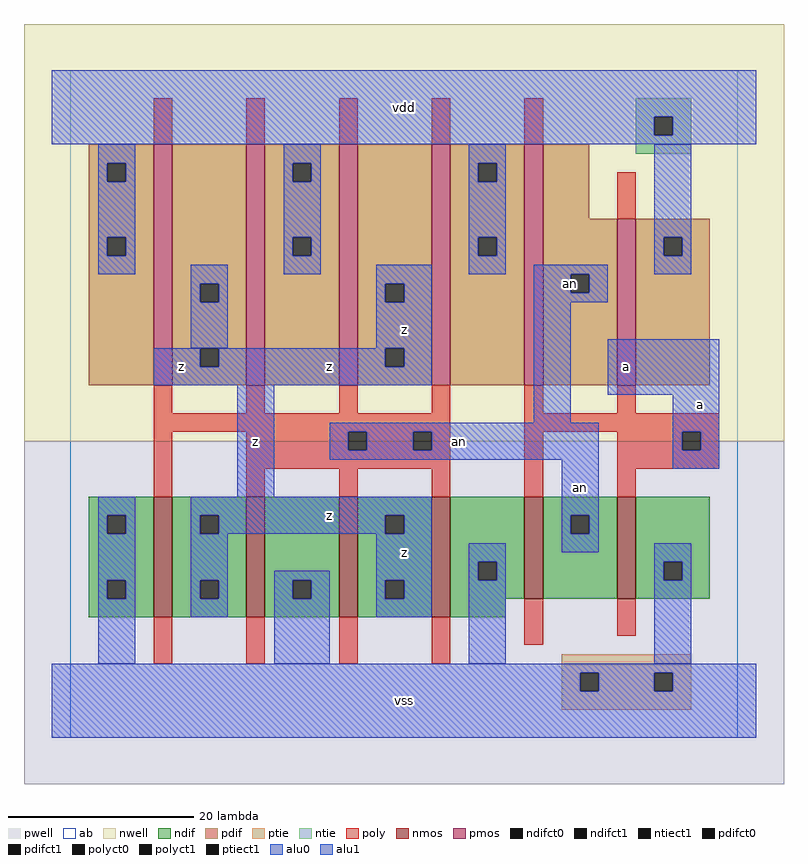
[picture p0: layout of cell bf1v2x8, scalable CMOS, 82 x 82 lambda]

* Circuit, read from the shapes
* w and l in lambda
.subckt bf1v2x8 a an vdd vss z
M1 z an vss vss nfet w=13 l=2 m=4
M2 an a vss vss nfet w=11 l=2 m=2
M3 z an vdd vdd pfet w=26 l=2 m=4
M4 an a vdd vdd pfet w=26 l=2
M5 vdd a an vdd pfet w=18 l=2
.ends

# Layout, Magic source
magic
tech scmos
<< ab >>
rect 0 0 72 72
<< nwell >>
rect -5 32 77 77
<< pwell >>
rect -5 -5 77 32
<< poly >>
rect 9 64 11 69
rect 19 64 21 69
rect 29 64 31 69
rect 39 64 41 69
rect 49 64 51 69
rect 59 56 61 61
rect 9 35 11 38
rect 19 35 21 38
rect 29 35 31 38
rect 39 35 41 38
rect 9 33 41 35
rect 9 26 11 33
rect 19 31 30 33
rect 32 31 37 33
rect 39 31 41 33
rect 19 29 41 31
rect 19 26 21 29
rect 29 26 31 29
rect 39 26 41 29
rect 49 35 51 38
rect 59 35 61 38
rect 49 33 70 35
rect 49 26 51 33
rect 59 31 66 33
rect 68 31 70 33
rect 59 29 70 31
rect 59 26 61 29
rect 9 8 11 13
rect 19 8 21 13
rect 29 8 31 13
rect 39 8 41 13
rect 49 10 51 15
rect 59 11 61 15
<< ndif >>
rect 2 24 9 26
rect 2 22 4 24
rect 6 22 9 24
rect 2 17 9 22
rect 2 15 4 17
rect 6 15 9 17
rect 2 13 9 15
rect 11 24 19 26
rect 11 22 14 24
rect 16 22 19 24
rect 11 17 19 22
rect 11 15 14 17
rect 16 15 19 17
rect 11 13 19 15
rect 21 17 29 26
rect 21 15 24 17
rect 26 15 29 17
rect 21 13 29 15
rect 31 24 39 26
rect 31 22 34 24
rect 36 22 39 24
rect 31 17 39 22
rect 31 15 34 17
rect 36 15 39 17
rect 31 13 39 15
rect 41 19 49 26
rect 41 17 44 19
rect 46 17 49 19
rect 41 15 49 17
rect 51 24 59 26
rect 51 22 54 24
rect 56 22 59 24
rect 51 15 59 22
rect 61 19 69 26
rect 61 17 64 19
rect 66 17 69 19
rect 61 15 69 17
rect 41 13 47 15
<< pdif >>
rect 2 62 9 64
rect 2 60 4 62
rect 6 60 9 62
rect 2 54 9 60
rect 2 52 4 54
rect 6 52 9 54
rect 2 38 9 52
rect 11 49 19 64
rect 11 47 14 49
rect 16 47 19 49
rect 11 42 19 47
rect 11 40 14 42
rect 16 40 19 42
rect 11 38 19 40
rect 21 62 29 64
rect 21 60 24 62
rect 26 60 29 62
rect 21 54 29 60
rect 21 52 24 54
rect 26 52 29 54
rect 21 38 29 52
rect 31 49 39 64
rect 31 47 34 49
rect 36 47 39 49
rect 31 42 39 47
rect 31 40 34 42
rect 36 40 39 42
rect 31 38 39 40
rect 41 62 49 64
rect 41 60 44 62
rect 46 60 49 62
rect 41 54 49 60
rect 41 52 44 54
rect 46 52 49 54
rect 41 38 49 52
rect 51 56 56 64
rect 51 50 59 56
rect 51 48 54 50
rect 56 48 59 50
rect 51 38 59 48
rect 61 54 69 56
rect 61 52 64 54
rect 66 52 69 54
rect 61 38 69 52
<< alu1 >>
rect -2 67 74 72
rect -2 65 63 67
rect 65 65 74 67
rect -2 64 74 65
rect 33 49 39 51
rect 33 47 34 49
rect 36 47 39 49
rect 33 42 39 47
rect 9 40 14 42
rect 16 40 34 42
rect 36 40 39 42
rect 9 38 39 40
rect 18 26 22 38
rect 58 37 70 43
rect 13 24 39 26
rect 13 22 14 24
rect 16 22 34 24
rect 36 22 39 24
rect 13 17 17 22
rect 13 15 14 17
rect 16 15 17 17
rect 13 13 17 15
rect 33 17 39 22
rect 65 33 70 37
rect 65 31 66 33
rect 68 31 70 33
rect 65 29 70 31
rect 33 15 34 17
rect 36 15 39 17
rect 33 13 39 15
rect -2 7 74 8
rect -2 5 55 7
rect 57 5 63 7
rect 65 5 74 7
rect -2 0 74 5
<< ptie >>
rect 53 7 67 9
rect 53 5 55 7
rect 57 5 63 7
rect 65 5 67 7
rect 53 3 67 5
<< ntie >>
rect 61 67 67 69
rect 61 65 63 67
rect 65 65 67 67
rect 61 63 67 65
<< nmos >>
rect 9 13 11 26
rect 19 13 21 26
rect 29 13 31 26
rect 39 13 41 26
rect 49 15 51 26
rect 59 15 61 26
<< pmos >>
rect 9 38 11 64
rect 19 38 21 64
rect 29 38 31 64
rect 39 38 41 64
rect 49 38 51 64
rect 59 38 61 56
<< polyct0 >>
rect 30 31 32 33
rect 37 31 39 33
<< polyct1 >>
rect 66 31 68 33
<< ndifct0 >>
rect 4 22 6 24
rect 4 15 6 17
rect 24 15 26 17
rect 44 17 46 19
rect 54 22 56 24
rect 64 17 66 19
<< ndifct1 >>
rect 14 22 16 24
rect 14 15 16 17
rect 34 22 36 24
rect 34 15 36 17
<< ntiect1 >>
rect 63 65 65 67
<< ptiect1 >>
rect 55 5 57 7
rect 63 5 65 7
<< pdifct0 >>
rect 4 60 6 62
rect 4 52 6 54
rect 14 47 16 49
rect 24 60 26 62
rect 24 52 26 54
rect 44 60 46 62
rect 44 52 46 54
rect 54 48 56 50
rect 64 52 66 54
<< pdifct1 >>
rect 14 40 16 42
rect 34 47 36 49
rect 34 40 36 42
<< alu0 >>
rect 3 62 7 64
rect 3 60 4 62
rect 6 60 7 62
rect 3 54 7 60
rect 3 52 4 54
rect 6 52 7 54
rect 3 50 7 52
rect 23 62 27 64
rect 23 60 24 62
rect 26 60 27 62
rect 23 54 27 60
rect 23 52 24 54
rect 26 52 27 54
rect 13 49 17 51
rect 23 50 27 52
rect 43 62 47 64
rect 43 60 44 62
rect 46 60 47 62
rect 43 54 47 60
rect 43 52 44 54
rect 46 52 47 54
rect 13 47 14 49
rect 16 47 17 49
rect 13 42 17 47
rect 43 50 47 52
rect 63 54 67 64
rect 63 52 64 54
rect 66 52 67 54
rect 50 50 58 51
rect 63 50 67 52
rect 50 48 54 50
rect 56 48 58 50
rect 50 47 58 48
rect 50 34 54 47
rect 28 33 57 34
rect 28 31 30 33
rect 32 31 37 33
rect 39 31 57 33
rect 28 30 57 31
rect 3 24 7 26
rect 3 22 4 24
rect 6 22 7 24
rect 3 17 7 22
rect 3 15 4 17
rect 6 15 7 17
rect 3 8 7 15
rect 22 17 28 18
rect 22 15 24 17
rect 26 15 28 17
rect 22 8 28 15
rect 53 24 57 30
rect 53 22 54 24
rect 56 22 57 24
rect 43 19 47 21
rect 53 20 57 22
rect 43 17 44 19
rect 46 17 47 19
rect 43 8 47 17
rect 63 19 67 21
rect 63 17 64 19
rect 66 17 67 19
rect 63 8 67 17
<< labels >>
rlabel alu0 55 27 55 27 6 an
rlabel alu0 42 32 42 32 6 an
rlabel alu0 54 49 54 49 6 an
rlabel alu1 12 40 12 40 6 z
rlabel alu1 20 32 20 32 6 z
rlabel alu1 28 24 28 24 6 z
rlabel alu1 28 40 28 40 6 z
rlabel alu1 36 4 36 4 6 vss
rlabel alu1 36 20 36 20 6 z
rlabel alu1 36 44 36 44 6 z
rlabel alu1 36 68 36 68 6 vdd
rlabel alu1 60 40 60 40 6 a
rlabel alu1 68 36 68 36 6 a
<< end >>
